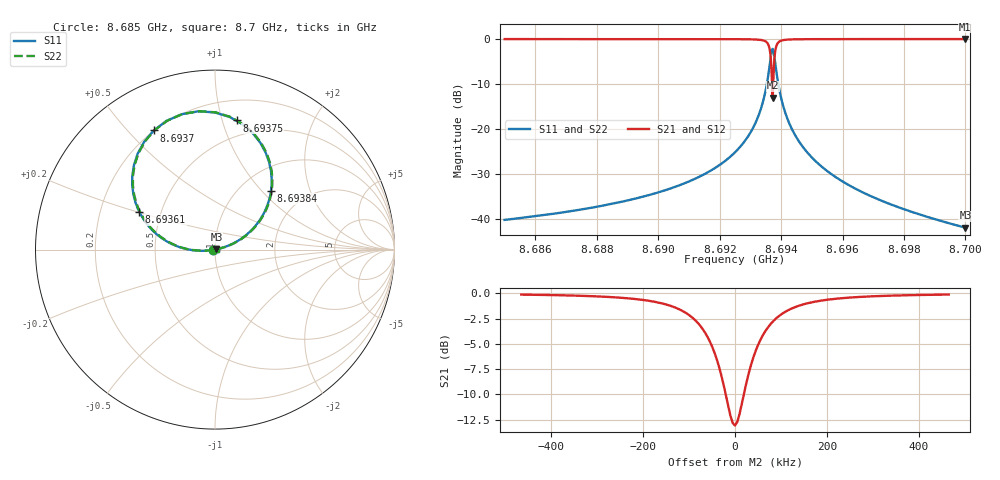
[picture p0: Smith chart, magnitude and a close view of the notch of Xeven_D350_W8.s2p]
! Sonnet Data File
! From: emgraph Version : 16.52
! From Project: Qubit_Xmon2_brg_para
! Data is De-embedded
! Data File Written: 10/25/2017 13:37:34
!< HDATE 10/25/2017 09:37:53
!< MDATE 10/25/2017 09:40:21
!< PARAMS
!< Lj = 11.0
!< Gap = 6.0
!< Pwid = 2000.0
!< Airgap = 6.0
!< Width = 10.0
!< Bwid = 8.0
!< Dis1 = 350.0
!< Dis2 = 356.0
!< END PARAMS
# GHZ S MA R 51.80000
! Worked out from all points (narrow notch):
!   3001 points, 8.685 GHz to 8.7 GHz, reference 51.8 ohm
!   highest |S21| = 0.00 dB at 8.69998 GHz (marker M1); lowest = -13.1 dB at 8.69373 GHz (marker M2)
!   notch at M2: 13.1 dB deep, 78.3 kHz wide at half that depth
!   lowest |S11| = -42.0 dB at 8.7 GHz (marker M3), VSWR 1.02, Z = 52.6 + j0.172 ohm
!   |S11| at or under -10 dB: start of sweep to 8.693537 GHz; 8.69391 GHz to end of sweep
!   |S22| runs from -42.0 to -2.2 dB; largest |S21 - S12| = 0
!   S11 on the Smith chart (normalised r, x): 8.685 GHz: 0.98, -0.00; 8.69361 GHz: 0.38, +0.20; 8.6937 GHz: 0.20, +0.59; 8.69375 GHz: 0.36, +1.11; 8.69384 GHz: 1.37, +1.13; 8.7 GHz: 1.02, +0.00
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8.685  0.009717 -170.2  0.9999 -80.0  0.9999 -80.0  0.009717 -170.0
!< P1 F=8.685 Eeff=(6.44683879 -2.9786e-5) Z0=(51.7993663 1.19075e-4) R=0.0 C=0.0
!< P2 F=8.685 Eeff=(6.44683879 -2.9786e-5) Z0=(51.7993663 1.19075e-4) R=0.0 C=0.0
8.6875  0.01269 -170.4  0.9999 -80.2  0.9999 -80.2  0.01269 -170.3
8.69  0.01964 -170.8  0.9997 -80.6  0.9997 -80.6  0.01964 -171.0
8.691475  0.03099 -171.6  0.9993 -81.3  0.9993 -81.3  0.03099 -171.9
8.6925  0.05489 -173.3  0.9977 -82.7  0.9977 -82.7  0.05489 -173.7
8.69323  0.131 -178.9  0.9866 -87.1  0.9866 -87.1  0.131 -179.4
8.6935  0.2716 170.4  0.9406 -95.2  0.9406 -95.2  0.2716 169.8
8.693615  0.4712 153.5  0.8076 -107.2  0.8076 -107.2  0.4712 153.0
8.693655  0.5972 140.7  0.6638 -114.8  0.6638 -114.8  0.5972 140.1
8.6937  0.7463 117.2  0.3543 -116.2  0.3543 -116.2  0.7463 116.7
8.693725  0.7779 100.4  0.2222 -78.4  0.2222 -78.4  0.7779 99.9
8.693755  0.7298 80.5  0.4033 -40.9  0.4033 -40.9  0.7298 80.0
8.6938  0.5743 58.4  0.6934 -45.6  0.6934 -45.6  0.5743 57.8
8.69384  0.4523 46.4  0.8231 -53.0  0.8231 -53.0  0.4523 45.8
8.69397  0.247 29.3  0.9505 -65.3  0.9505 -65.3  0.247 28.8
8.69424  0.1213 19.8  0.9882 -72.6  0.9882 -72.6  0.1213 19.2
8.694565  0.07411 16.3  0.9956 -75.3  0.9956 -75.3  0.07411 15.7
8.695  0.04818 14.4  0.9981 -76.8  0.9981 -76.8  0.04818 13.7
8.696025  0.02571 12.8  0.9994 -78.1  0.9994 -78.1  0.02571 12.0
8.6975  0.01477 12.1  0.9998 -78.7  0.9998 -78.7  0.01477 11.1
8.699985  0.007984 11.8  0.9999 -79.1  0.9999 -79.1  0.007983 10.3
8.7  0.007959 11.8  0.9999 -79.1  0.9999 -79.1  0.007958 10.3
